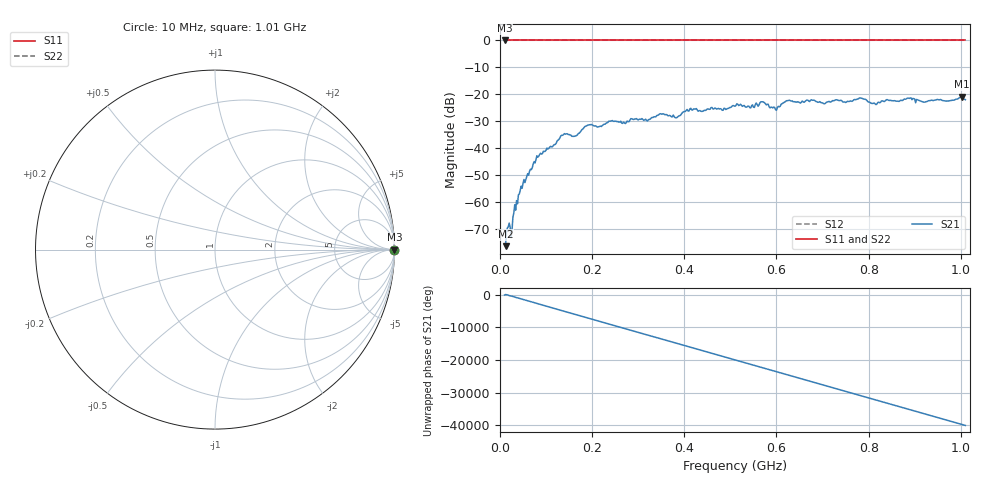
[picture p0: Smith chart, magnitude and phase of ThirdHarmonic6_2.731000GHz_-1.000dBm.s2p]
! 8/17/2025 6:43:11 AM
! C:\ANRITSUVNA\TEMP\TEMP.S2P
! CHANNEL.1
! TR.MEASUREMENT
! RAW.DATA
! RF.CORRECTION.OFF
! AVERAGING.OFF
! IF.BANDWIDTH: 5KHZ
! SWEEPTYPE:  FREQ.SWEEP(Linear)
! Reference Plane Port Info
! PORT:  PORT1  PORT2
! DISTANCE:  0  m  0  m
! TIME:  0  s  0  s
! PHASE.OFFSET:  0  deg.  0  deg.
! LOSS:  0  dB  0  dB
! REF.LOSS:  0  dB  0  dB
! REF.FREQ:  0  Hz  0  Hz
! Power Info
! POWER:  -20  dBm  -20  dBm
! EFF.POWER:  -20  dBm  -20  dBm
! SOURCE.ATTEN:  0  dB  0  dB
! TEST.ATTEN:  0  dB  0  dB
# GHZ S RI R 50.0
! FREQ.GHZ  S11RE  S11IM  S21RE  S21IM  S12RE  S12IM  S22RE  S22IM
!; PortSelection: Port_12
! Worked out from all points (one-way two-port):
!   501 points, 10 MHz to 1.01 GHz, reference 50 ohm
!   highest |S21| = -20.94 dB at 1.002 GHz (marker M1); lowest = -76.5 dB at 12 MHz (marker M2)
!   lowest |S11| = 0.0 dB at 10 MHz (marker M3)
!   |S11| at or under -10 dB: nowhere
!   |S22| runs from 0.0 to 0.0 dB; largest |S21 - S12| = 1.1
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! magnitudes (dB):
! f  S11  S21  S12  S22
! 10 MHz  0.0  -76.0  0.0  0.0
! 12 MHz  0.0  -76.5  0.0  0.0
! 18 MHz  0.0  -69.3  0.0  0.0
! 26 MHz  0.0  -70.8  0.0  0.0
! 32 MHz  0.0  -61.1  0.0  0.0
! 48 MHz  0.0  -55.0  0.0  0.0
! 82 MHz  0.0  -43.4  0.0  0.0
! 136 MHz  0.0  -35.3  0.0  0.0
! 162 MHz  0.0  -35.6  0.0  0.0
! 178 MHz  0.0  -33.1  0.0  0.0
! 344 MHz  0.0  -27.7  0.0  0.0
! 382 MHz  0.0  -28.8  0.0  0.0
! 410 MHz  0.0  -26.3  0.0  0.0
! 510 MHz  0.0  -24.5  0.0  0.0
! 570 MHz  0.0  -22.8  0.0  0.0
! 596 MHz  0.0  -24.9  0.0  0.0
! 624 MHz  0.0  -22.4  0.0  0.0
! 678 MHz  0.0  -22.2  0.0  0.0
! 814 MHz  0.0  -23.6  0.0  0.0
! 844 MHz  0.0  -22.3  0.0  0.0
! 1.002 GHz  0.0  -20.9  0.0  0.0
! 1.01 GHz  0.0  -22.0  0.0  0.0
